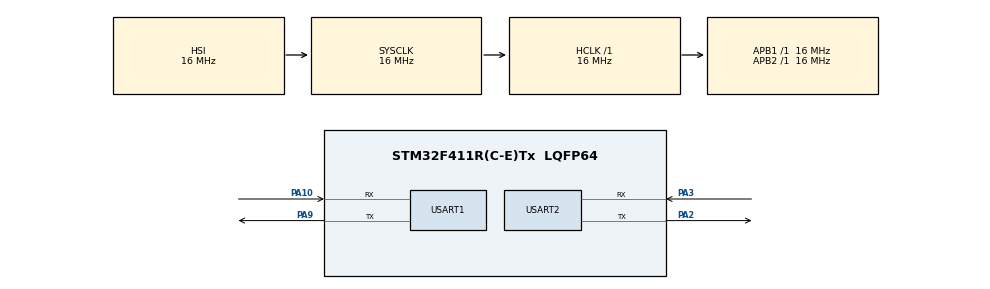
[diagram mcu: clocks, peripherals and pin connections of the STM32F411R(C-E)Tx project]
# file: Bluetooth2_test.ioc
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Mcu.Family=STM32F4
Mcu.Name=STM32F411R(C-E)Tx
Mcu.Package=LQFP64
NVIC.PriorityGroup=NVIC_PRIORITYGROUP_4
NVIC.USART1_IRQn=true\:0\:0\:false\:false\:true\:true\:true\:true
NVIC.USART2_IRQn=true\:0\:0\:false\:false\:true\:true\:true\:true
PA10.Mode=Asynchronous
PA10.Signal=USART1_RX
PA2.Mode=Asynchronous
PA2.Signal=USART2_TX
PA3.Mode=Asynchronous
PA3.Signal=USART2_RX
PA9.Mode=Asynchronous
PA9.Signal=USART1_TX
ProjectManager.HeapSize=0x200
ProjectManager.StackSize=0x400
ProjectManager.TargetToolchain=STM32CubeIDE
RCC.AHBFreq_Value=16000000
RCC.APB1Freq_Value=16000000
RCC.APB2Freq_Value=16000000
RCC.CortexFreq_Value=16000000
RCC.HSE_VALUE=25000000
RCC.HSI_VALUE=16000000
RCC.LSE_VALUE=32768
RCC.SYSCLKFreq_VALUE=16000000
RCC.VCOOutputFreq_Value=192000000
USART1.VirtualMode=VM_ASYNC
USART2.VirtualMode=VM_ASYNC
board=custom

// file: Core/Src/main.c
/* USER CODE BEGIN Header */
/**
 ******************************************************************************
 * @file           : main.c
 * @brief          : Main program body
 ******************************************************************************
 * @attention
 *
 * Copyright (c) 2024 STMicroelectronics.
 * All rights reserved.
 *
 * This software is licensed under terms that can be found in the LICENSE file
 * in the root directory of this software component.
 * If no LICENSE file comes with this software, it is provided AS-IS.
 *
 ******************************************************************************
 */
/* USER CODE END Header */
#include "main.h"
#include "usart.h"
#include "gpio.h"

/* USER CODE BEGIN Includes */
#include <stdio.h>

/* USER CODE END Includes */

/* USER CODE BEGIN PV */
uint8_t uart2_buf;
uint8_t uart1_buf;

uint8_t adc_rx_buf[4];
uint8_t adc_rx_flag = 0;

/* USER CODE END PV */

void SystemClock_Config(void);

/* USER CODE BEGIN 0 */
int _write(int file, char *p, int len) {
	HAL_UART_Transmit_IT(&huart2, p, len);
	return len;
}

/* USER CODE END 0 */

int main(void) {

	/* MCU Configuration--------------------------------------------------------*/

	/* Reset of all peripherals, Initializes the Flash interface and the Systick. */
	HAL_Init();

	/* Configure the system clock */
	SystemClock_Config();

	/* Initialize all configured peripherals */
	MX_GPIO_Init();
	MX_USART1_UART_Init();
	MX_USART2_UART_Init();
	/* USER CODE BEGIN 2 */
	HAL_UART_Receive_IT(&huart2, &uart2_buf, 1);
	HAL_UART_Receive_IT(&huart1, &uart1_buf, 1);

	/* USER CODE END 2 */

	/* Infinite loop */
	/* USER CODE BEGIN WHILE */
	while (1) {
//		if (adc_rx_flag == 1) {
//			adc_rx_flag = 0;
//			printf("%c\t%d\t%d\t%c", adc_rx_buf[0], adc_rx_buf[1], adc_rx_buf[2],
//					adc_rx_buf[3]);
//		}
		/* USER CODE END WHILE */

	}
}

void SystemClock_Config(void) {
	RCC_OscInitTypeDef RCC_OscInitStruct = { 0 };
	RCC_ClkInitTypeDef RCC_ClkInitStruct = { 0 };

	/** Configure the main internal regulator output voltage
	 */
	__HAL_RCC_PWR_CLK_ENABLE();
	__HAL_PWR_VOLTAGESCALING_CONFIG(PWR_REGULATOR_VOLTAGE_SCALE1);

	/** Initializes the RCC Oscillators according to the specified parameters
	 * in the RCC_OscInitTypeDef structure.
	 */
	RCC_OscInitStruct.OscillatorType = RCC_OSCILLATORTYPE_HSI;
	RCC_OscInitStruct.HSIState = RCC_HSI_ON;
	RCC_OscInitStruct.HSICalibrationValue = RCC_HSICALIBRATION_DEFAULT;
	RCC_OscInitStruct.PLL.PLLState = RCC_PLL_NONE;
	if (HAL_RCC_OscConfig(&RCC_OscInitStruct) != HAL_OK) {
		Error_Handler();
	}

	/** Initializes the CPU, AHB and APB buses clocks
	 */
	RCC_ClkInitStruct.ClockType = RCC_CLOCKTYPE_HCLK | RCC_CLOCKTYPE_SYSCLK
			| RCC_CLOCKTYPE_PCLK1 | RCC_CLOCKTYPE_PCLK2;
	RCC_ClkInitStruct.SYSCLKSource = RCC_SYSCLKSOURCE_HSI;
	RCC_ClkInitStruct.AHBCLKDivider = RCC_SYSCLK_DIV1;
	RCC_ClkInitStruct.APB1CLKDivider = RCC_HCLK_DIV1;
	RCC_ClkInitStruct.APB2CLKDivider = RCC_HCLK_DIV1;

	if (HAL_RCC_ClockConfig(&RCC_ClkInitStruct, FLASH_LATENCY_0) != HAL_OK) {
		Error_Handler();
	}
}

/* USER CODE BEGIN 4 */
void HAL_UART_RxCpltCallback(UART_HandleTypeDef *huart) {
//	static uint8_t cnt = 0;

	if (huart->Instance == USART1) {
//		printf("%d\n",uart1_buf);
		HAL_UART_Receive_IT(&huart1, &uart1_buf, 1);
		HAL_UART_Transmit_IT(&huart2, &uart1_buf, 1);

//		switch (cnt) {
//		case 0:
//			if (uart1_buf == 0x48)
//				adc_rx_buf[cnt] = uart1_buf;
//			cnt++;
//			break;
//		case 3:
//			if (uart1_buf == 0x59)
//				adc_rx_buf[cnt] = uart1_buf;
//			cnt = 0;
//			adc_rx_flag = 1;
//			break;
//		default:
//			adc_rx_buf[cnt] = uart1_buf;
//			cnt++;
//			break;
//		}

	}
	if (huart->Instance == USART2) {
		HAL_UART_Receive_IT(&huart2, &uart2_buf, 1);
		HAL_UART_Transmit_IT(&huart1, &uart2_buf, 1);
	}
}

/* USER CODE END 4 */

void Error_Handler(void) {
	__disable_irq();
	while (1) {
	}
}
